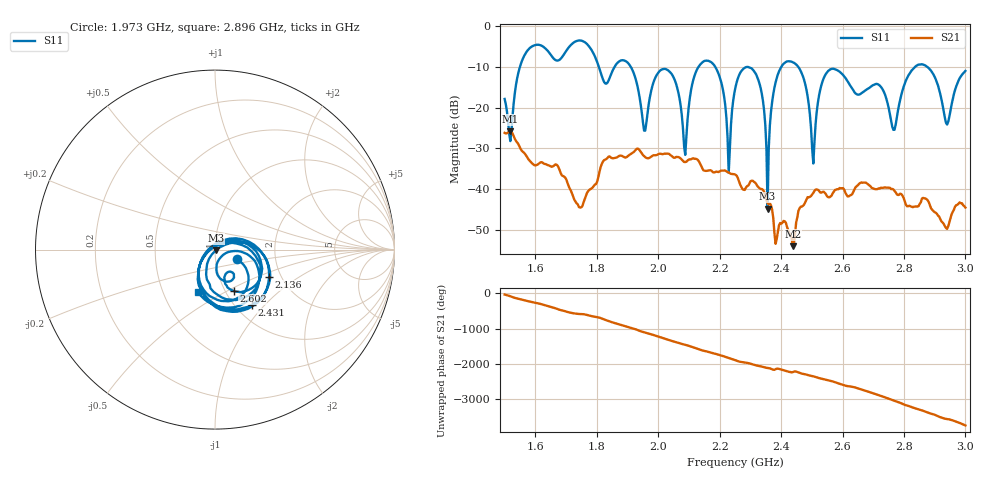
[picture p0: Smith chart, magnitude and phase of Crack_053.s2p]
# HZ S RI R 50
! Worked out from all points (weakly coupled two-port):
!   404 points, 1.5 GHz to 3 GHz, reference 50 ohm
!   highest |S21| = -25.82 dB at 1.519 GHz (marker M1); lowest = -54.0 dB at 2.438 GHz (marker M2)
!   lowest |S11| = -44.8 dB at 2.356 GHz (marker M3), VSWR 1.01, Z = 50.4 - j0.423 ohm
!   |S11| at or under -10 dB: 1.911 GHz to 2.131 GHz (220.2 MHz wide, 10.9 % of centre); 2.186 GHz to 2.401 GHz (214.8 MHz wide, 9.37 % of centre); 2.456 GHz to 2.836 GHz (379.6 MHz wide, 14.3 % of centre) (the widest 3 of 6)
!   S12 and S22 are empty: the file has one direction only
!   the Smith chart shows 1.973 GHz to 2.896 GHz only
!   S11 on the Smith chart (normalised r, x): 1.973 GHz: 1.27, -0.14; 2.136 GHz: 1.74, -0.59; 2.431 GHz: 1.19, -0.85; 2.602 GHz: 1.09, -0.54; 2.896 GHz: 0.74, -0.38
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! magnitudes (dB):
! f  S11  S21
! 1.5 GHz  -17.9  -26.2
! 1.519 GHz  -28.2  -25.8
! 1.574 GHz  -6.0  -32.3
! 1.753 GHz  -3.6  -44.2
! 1.973 GHz  -17.5  -32.3
! 2.002 GHz  -11.2  -31.3
! 2.088 GHz  -31.6  -33.4
! 2.136 GHz  -9.4  -33.8
! 2.196 GHz  -11.6  -35.8
! 2.23 GHz  -36.0  -36.0
! 2.252 GHz  -14.9  -36.5
! 2.319 GHz  -11.8  -38.7
! 2.356 GHz  -44.8  -43.5
! 2.431 GHz  -8.6  -51.4
! 2.438 GHz  -8.8  -54.0
! 2.501 GHz  -30.1  -41.3
! 2.542 GHz  -12.2  -40.9
! 2.602 GHz  -11.9  -39.8
! 2.751 GHz  -20.2  -39.6
! 2.896 GHz  -11.8  -45.4
! 2.94 GHz  -24.2  -49.8
! 3 GHz  -11.0  -44.6
